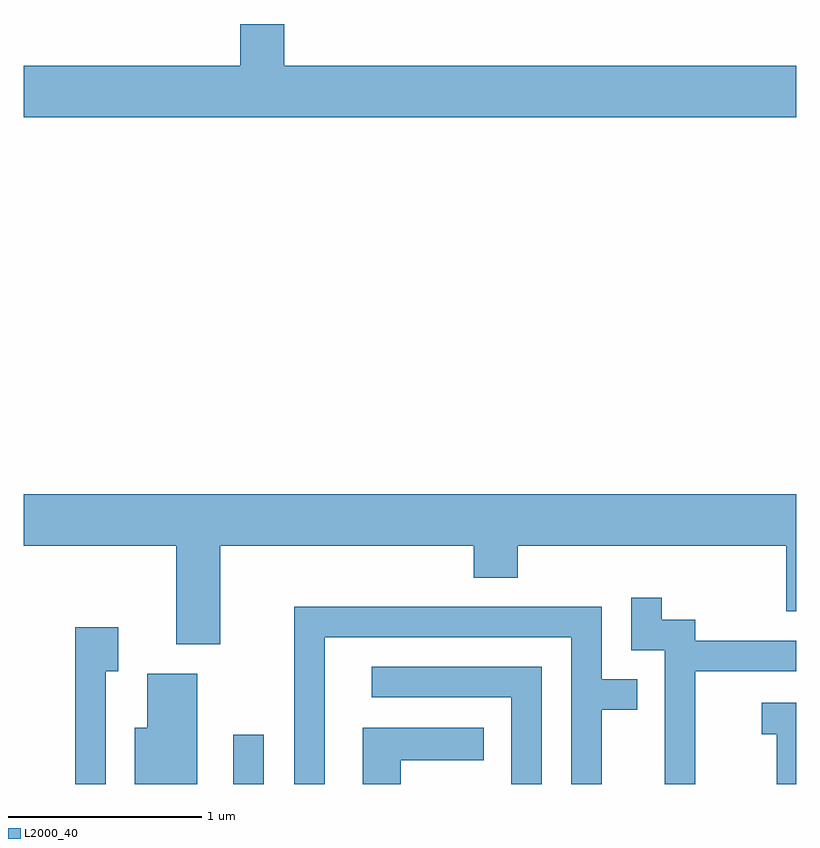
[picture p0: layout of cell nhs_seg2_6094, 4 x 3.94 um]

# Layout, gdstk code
import gdstk
lib = gdstk.Library(unit=1e-6, precision=1e-09)
def R(c, l, rs):  # rectangles x0, y0, x1, y1
    for r in rs: c.add(gdstk.rectangle(r[:2], r[2:], *l))
def P(c, l, *ps):  # polygons
    for p in ps: c.add(gdstk.Polygon(p, *l))
L2000_40 = (2000, 40)

nhs_seg2_6094 = lib.new_cell('nhs_seg2_6094')
R(nhs_seg2_6094, L2000_40, [(366.696,993.802,366.854,994.058)])
P(nhs_seg2_6094, L2000_40, [(369.611,997.524),(366.959,997.524),(366.959,997.739),(366.731,997.739),(366.731,997.524),(365.611,997.524),(365.611,997.256),(369.611,997.256)],
  [(366.629,995.036),(367.941,995.036),(367.941,994.871),(368.169,994.871),(368.169,995.036),(369.561,995.036),(369.561,994.696),(369.611,994.696),(369.611,995.304),(365.611,995.304),(365.611,995.036),(366.401,995.036),(366.401,994.526),(366.629,994.526)],
  [(369.089,994.386),(369.611,994.386),(369.611,994.544),(369.089,994.544),(369.089,994.654),(368.914,994.654),(368.914,994.768),(368.756,994.768),(368.756,994.496),(368.931,994.496),(368.931,993.802),(369.089,993.802)],
  [(367.169,994.561),(368.446,994.561),(368.446,993.802),(368.604,993.802),(368.604,994.186),(368.788,994.186),(368.788,994.344),(368.604,994.344),(368.604,994.719),(367.011,994.719),(367.011,993.802),(367.169,993.802)],
  [(366.034,994.386),(366.099,994.386),(366.099,994.614),(365.876,994.614),(365.876,993.802),(366.034,993.802)],
  [(368.294,994.409),(367.413,994.409),(367.413,994.251),(368.136,994.251),(368.136,993.802),(368.294,993.802)],
  [(366.509,994.374),(366.251,994.374),(366.251,994.094),(366.186,994.094),(366.186,993.802),(366.509,993.802)],
  [(369.611,994.224),(369.433,994.224),(369.433,994.061),(369.511,994.061),(369.511,993.802),(369.611,993.802)],
  [(367.564,993.926),(367.993,993.926),(367.993,994.094),(367.366,994.094),(367.366,993.802),(367.564,993.802)])

lib.write_gds('nhs_seg2_6094.gds')
